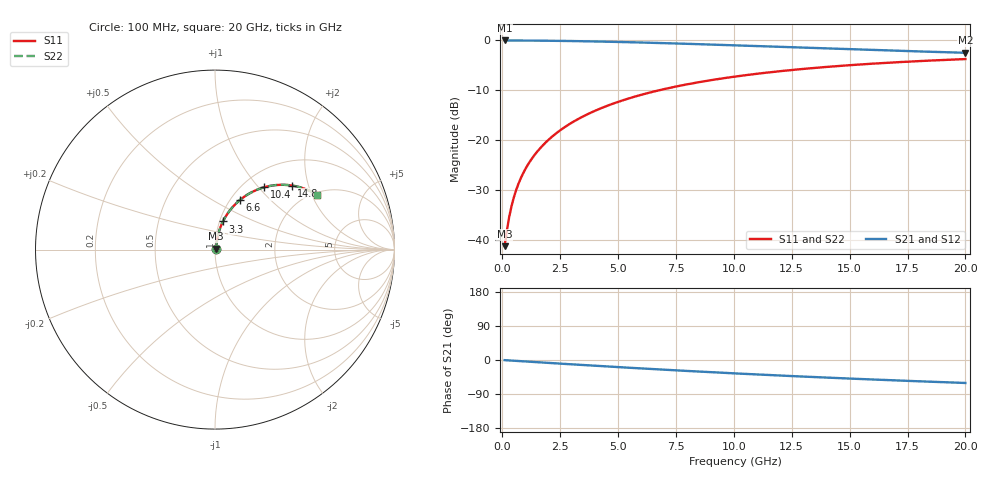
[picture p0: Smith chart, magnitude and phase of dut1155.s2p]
! Touchstone file exported from HFSS 2026.1.0
!  File:  C:/ffzhzh/LocalFiles/Ansys_Project_Files/temp_train_TMRDL_1155_1783162190_22436.aedt
!  Generated:  06:51:26 PM Jul  4, 2026
!  Design:  TMRDL
!  Project:  temp_train_TMRDL_1155_1783162190_22436
! Variables:
!  h_bsmrdl = 2um
!  h_ox = 20um
!  h_rdl = 5um
!  h_sub = 80um
!  h_tmrdl = 4.1um
!  h_tsv = 80um
!  h_via = 3um
!  l_bsmrdl = 300um
!  l_sub = 1266.07um
!  l_tmrdl = 866.07um
!  m_sub = 200um
!  pitch = 54.09um
!  r_tsv = 6um
!  s_tmrdl = 10um
!  w_bsmrdl = 18um
!  w_sub = 500um
!  w_tmrdl = 10.73um
!  x_tsv_center1 = 871.435um
!  x_tsv_center2 = 1189.435um
!  x_tsv_center3 = 2066.235um
!  x_tsv_center4 = 2384.235um
!  x_tsv_center5 = 3261.035um
!  x_tsv_center6 = 3579.035um
# GHz S MA R 50.000000
! Terminal data exported
! Port[1] = TM_RDL1_1_T1
! Port[2] = TM_RDL1_1_T2
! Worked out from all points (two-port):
!   200 points, 100 MHz to 20 GHz, reference 50 ohm
!   highest |S21| = -0.06 dB at 100 MHz (marker M1); lowest = -2.5 dB at 20 GHz (marker M2)
!   |S21| within 3 dB of the highest: start of sweep to end of sweep
!   lowest |S11| = -41.3 dB at 100 MHz (marker M3), VSWR 1.02, Z = 50.7 + j0.522 ohm
!   |S11| at or under -10 dB: start of sweep to 6.808 GHz
!   |S22| runs from -41.3 to -3.8 dB; largest |S21 - S12| = 3.5e-15
!   S11 on the Smith chart (normalised r, x): 100 MHz: 1.01, +0.01; 3.3 GHz: 1.04, +0.34; 6.6 GHz: 1.10, +0.67; 10.4 GHz: 1.24, +1.07; 14.8 GHz: 1.52, +1.57; 20 GHz: 2.11, +2.20
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0.1  0.00864 36.6  0.9931 -0.4  0.9931 -0.4  0.00864 36.6
! Gamma 0 0 0 0
! Port Impedance 50 0 50 0
0.2  0.01249 55.3  0.993 -0.8  0.993 -0.8  0.01249 55.3
0.3  0.01704 64.3  0.9928 -1.2  0.9928 -1.2  0.01704 64.3
0.4  0.02182 69.2  0.9926 -1.6  0.9926 -1.6  0.02182 69.2
0.5  0.02668 72.2  0.9924 -2.0  0.9924 -2.0  0.02668 72.2
0.6  0.03159 74.2  0.9922 -2.3  0.9922 -2.3  0.03159 74.2
0.8  0.04145 76.4  0.9916 -3.1  0.9916 -3.1  0.04145 76.4
1.1  0.05629 77.8  0.9907 -4.3  0.9907 -4.3  0.05629 77.8
1.5  0.07608 78.2  0.9891 -5.8  0.9891 -5.8  0.07608 78.2
2  0.1007 77.6  0.9866 -7.7  0.9866 -7.7  0.1007 77.6
2.6  0.1299 76.2  0.9828 -9.9  0.9828 -9.9  0.1299 76.2
3.3  0.1633 74.2  0.9773 -12.6  0.9773 -12.6  0.1633 74.2
3.5  0.1727 73.6  0.9755 -13.3  0.9755 -13.3  0.1727 73.6
4.9  0.2364 69.0  0.961 -18.4  0.961 -18.4  0.2364 69.0
6.6  0.3079 63.4  0.9392 -24.3  0.9392 -24.3  0.3079 63.4
6.8  0.3159 62.8  0.9364 -25.0  0.9364 -25.0  0.3159 62.8
10.1  0.4332 52.6  0.8867 -35.5  0.8867 -35.5  0.4332 52.6
10.4  0.4426 51.7  0.882 -36.4  0.882 -36.4  0.4425 51.7
13.4  0.525 43.4  0.8354 -44.9  0.8354 -44.9  0.525 43.5
14.8  0.557 39.9  0.8146 -48.5  0.8146 -48.5  0.557 39.9
16.7  0.5947 35.3  0.788 -53.2  0.788 -53.2  0.5947 35.3
20  0.6464 28.0  0.7474 -60.6  0.7474 -60.6  0.6464 28.1
